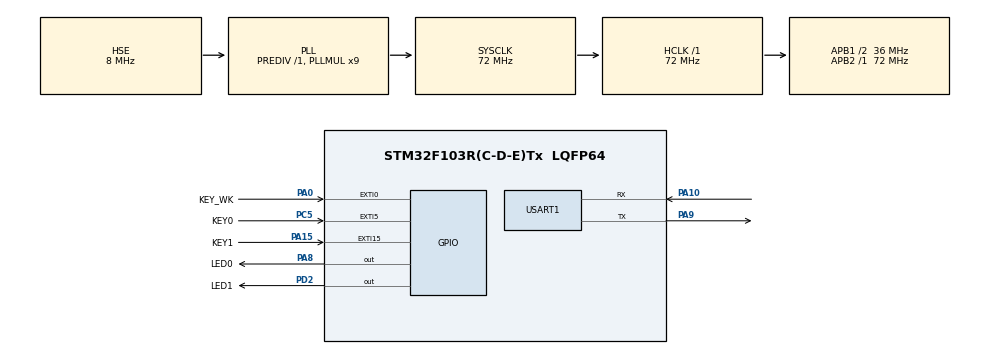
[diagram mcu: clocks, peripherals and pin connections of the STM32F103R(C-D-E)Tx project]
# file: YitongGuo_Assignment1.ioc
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Mcu.Family=STM32F1
Mcu.Name=STM32F103R(C-D-E)Tx
Mcu.Package=LQFP64
NVIC.EXTI0_IRQn=true\:1\:0\:true\:false\:true\:true\:true\:true
NVIC.EXTI15_10_IRQn=true\:1\:2\:true\:false\:true\:true\:true\:true
NVIC.EXTI9_5_IRQn=true\:1\:1\:true\:false\:true\:true\:true\:true
NVIC.PriorityGroup=NVIC_PRIORITYGROUP_2
NVIC.USART1_IRQn=true\:1\:0\:true\:false\:true\:true\:true\:true
PA0-WKUP.GPIO_Label=KEY_WK
PA0-WKUP.GPIO_ModeDefaultEXTI=GPIO_MODE_IT_RISING
PA0-WKUP.GPIO_PuPd=GPIO_PULLDOWN
PA0-WKUP.Signal=GPXTI0
PA10.Mode=Asynchronous
PA10.Signal=USART1_RX
PA13.Mode=Serial_Wire
PA13.Signal=SYS_JTMS-SWDIO
PA14.Mode=Serial_Wire
PA14.Signal=SYS_JTCK-SWCLK
PA15.GPIO_Label=KEY1
PA15.GPIO_ModeDefaultEXTI=GPIO_MODE_IT_FALLING
PA15.GPIO_PuPd=GPIO_PULLUP
PA15.Signal=GPXTI15
PA8.GPIO_Label=LED0
PA8.PinState=GPIO_PIN_RESET
PA8.Signal=GPIO_Output
PA9.Mode=Asynchronous
PA9.Signal=USART1_TX
PC5.GPIO_Label=KEY0
PC5.GPIO_ModeDefaultEXTI=GPIO_MODE_IT_FALLING
PC5.GPIO_PuPd=GPIO_PULLUP
PC5.Signal=GPXTI5
PD0-OSC_IN.Mode=HSE-External-Oscillator
PD0-OSC_IN.Signal=RCC_OSC_IN
PD1-OSC_OUT.Mode=HSE-External-Oscillator
PD1-OSC_OUT.Signal=RCC_OSC_OUT
PD2.GPIO_Label=LED1
PD2.PinState=GPIO_PIN_RESET
PD2.Signal=GPIO_Output
ProjectManager.HeapSize=0x200
ProjectManager.StackSize=0x400
ProjectManager.TargetToolchain=STM32CubeIDE
RCC.AHBFreq_Value=72000000
RCC.APB1CLKDivider=RCC_HCLK_DIV2
RCC.APB1Freq_Value=36000000
RCC.APB1TimFreq_Value=72000000
RCC.APB2Freq_Value=72000000
RCC.APB2TimFreq_Value=72000000
RCC.HCLKFreq_Value=72000000
RCC.PLLMUL=RCC_PLL_MUL9
RCC.PLLSourceVirtual=RCC_PLLSOURCE_HSE
RCC.SYSCLKFreq_VALUE=72000000
RCC.SYSCLKSource=RCC_SYSCLKSOURCE_PLLCLK
RCC.USBFreq_Value=72000000
USART1.VirtualMode=VM_ASYNC
board=custom

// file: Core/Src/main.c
/* USER CODE BEGIN Header */
/**
  ******************************************************************************
  * @file           : main.c
  * @brief          : Main program body
  ******************************************************************************
  * @attention
  *
  * Copyright (c) 2023 STMicroelectronics.
  * All rights reserved.
  *
  * This software is licensed under terms that can be found in the LICENSE file
  * in the root directory of this software component.
  * If no LICENSE file comes with this software, it is provided AS-IS.
  *
  ******************************************************************************
  */
/* USER CODE END Header */
#include "main.h"
#include "usart.h"
#include "gpio.h"

/* USER CODE BEGIN Includes */
#include "lcd.h"
#include "string.h"
#include <ctype.h>
/* USER CODE END Includes */

/* USER CODE BEGIN PTD */
typedef struct {
    char character;
    char code[10];
} HuffmanCode;
/* USER CODE END PTD */

extern int Mode;
char decoded_error_buffer[24]={'\0'};
char encoded_error_buffer[24]={'\0'};
extern char binaryInput[9];
int exist=0;
extern char character_input[100];
char encoded_output[100]={'\0'};
extern char input_huffman_code[100];
char decoded_output[100]={'\0'};
/* USER CODE BEGIN PV */
HuffmanCode encodingTable[] = {
    {'A', "000"}, {'B', "101001"}, {'C', "00101"}, {'D', "11011"},
    {'E', "011"}, {'F', "01000"}, {'G', "001001"}, {'H', "0011"},
    {'I', "1100"}, {'J', "00100011"}, {'K', "0010000"}, {'L', "11010"},
    {'M', "01001"}, {'N', "1011"}, {'O', "1110"}, {'P', "101011"},
    {'Q', "0010001001"}, {'R', "0101"}, {'S', "1000"}, {'T', "1111"},
    {'U', "10011"}, {'V', "101000"}, {'W', "101010"}, {'X', "001000101"},
    {'Y', "10010"}, {'Z', "0010001000"}
};
/* USER CODE END PV */

void SystemClock_Config(void);

/* USER CODE BEGIN 0 */
void encode(char* character_input){
	memset(encoded_output,0,sizeof(encoded_output));
    size_t length=strlen(character_input);
    int i,j=0;
    for (i = 0; i<length; ++i) {
            for (j = 0; j < sizeof(encodingTable) / sizeof(HuffmanCode); ++j) {
                if (toupper(character_input[i]) == encodingTable[j].character) {
                	strcat(encoded_output, encodingTable[j].code);
                    break;
                }
            }
//            char* error_message="Encode error:";
//            char* temp;
//            *temp=character_input[i];
//            strcpy(encoded_error_buffer,error_message);
//            strcat(encoded_error_buffer,temp);

    }
    return;
}
char decodeChar(char* code){
	for (int i = 0; i < sizeof(encodingTable) / sizeof(HuffmanCode); ++i) {
	        if (strcmp(code, encodingTable[i].code) == 0) {
	        	exist=1;
	        	//LED_0 LED_1 first blink
	        	HAL_GPIO_TogglePin(LED0_GPIO_Port, LED0_Pin);
	        	HAL_GPIO_TogglePin(LED1_GPIO_Port, LED1_Pin);
	        	HAL_Delay(300);
	        	HAL_GPIO_TogglePin(LED0_GPIO_Port, LED0_Pin);
	        	HAL_GPIO_TogglePin(LED1_GPIO_Port, LED1_Pin);
	        	HAL_Delay(300);
	        	//LED_0 LED_1 second blink
	        	HAL_GPIO_TogglePin(LED0_GPIO_Port, LED0_Pin);
	        	HAL_GPIO_TogglePin(LED1_GPIO_Port, LED1_Pin);
	        	HAL_Delay(300);
	        	HAL_GPIO_TogglePin(LED0_GPIO_Port, LED0_Pin);
	        	HAL_GPIO_TogglePin(LED1_GPIO_Port, LED1_Pin);
	            return encodingTable[i].character;
	        }
	    }
	    exist=0;
	    return '\0';  // Return null character if not found
}
void decode(char* decoded_input){
	char buffer[11];
	int i, j = 0, k = 0;
	size_t length=strlen(decoded_input);
	for (i = 0; i<length;++i) {
	        buffer[j++] = decoded_input[i];
	        buffer[j] = '\0';
	        exist=0;
	        char decodedChar = decodeChar(buffer);
	        if(exist==0){//"找不到“
	        	char* error_message="Decode error:";
	        	strcpy(decoded_error_buffer,error_message);
	        	strcat(decoded_error_buffer,buffer);
	        }
	        //找到了，要清空error_buffer以及改变j，还有加入到decoded_output中
	        else{
	        	memset(decoded_error_buffer,0,sizeof(decoded_error_buffer));
	        	j=0;
	        	decoded_output[k++]=decodedChar;
	        }
	}
	    decoded_output[k] = '\0';
}
/* USER CODE END 0 */

int main(void)
{

  /* MCU Configuration--------------------------------------------------------*/

  /* Reset of all peripherals, Initializes the Flash interface and the Systick. */
  HAL_Init();

  /* Configure the system clock */
  SystemClock_Config();

  /* Initialize all configured peripherals */
  MX_GPIO_Init();
  MX_USART1_UART_Init();
  /* USER CODE BEGIN 2 */
  LCD_Init();
  /* USER CODE END 2 */

  /* Infinite loop */
  /* USER CODE BEGIN WHILE */
  BACK_COLOR = WHITE;
  POINT_COLOR = RED;
  HAL_GPIO_TogglePin(LED0_GPIO_Port, LED0_Pin);
  HAL_GPIO_TogglePin(LED1_GPIO_Port, LED1_Pin);
  while (1)
  {
    /* USER CODE END WHILE */
	    // use as confirm key or mode switch key
	 	  if(HAL_GPIO_ReadPin(KEY_WK_GPIO_Port, KEY_WK_Pin)== GPIO_PIN_RESET){
	 		  if(Mode ==1){
	 			  if(strlen(character_input)>0){// confirm key
	 				  //When receiving successive 0 and 1 after pressing Confirmation key, LED0 and LED1 should blink in order
//	 				  strncat(code_ofAlpha, encode(character_input), sizeof(code_ofAlpha) - strlen(code_ofAlpha) - 1);
	 				  encode(character_input);
	 				  memset(character_input, '\0', sizeof(character_input));

	 			  }
	 			  else{//Mode switch key
	 				  Mode =0;

	 			  }
	 		  }
	 		  else if(Mode ==0){
	 			  if(strlen(input_huffman_code)>0){ //confirm key, decode character
	 				  for(int i=0;i<strlen(input_huffman_code);i++){
	 					  if(input_huffman_code[i]=='0'){
	 						  //LED_0 blink
	 						  HAL_GPIO_TogglePin(LED0_GPIO_Port, LED0_Pin);
	 						  HAL_Delay(300);
	 						  HAL_GPIO_TogglePin(LED0_GPIO_Port, LED0_Pin);
	 						  HAL_Delay(300);
	 					  }
	 					  else if(input_huffman_code[i]=='1'){
	 						  //LED_1 blink
	 						  HAL_GPIO_TogglePin(LED1_GPIO_Port, LED1_Pin);
	 						  HAL_Delay(300);
	 						  HAL_GPIO_TogglePin(LED1_GPIO_Port, LED1_Pin);
	 						  HAL_Delay(300);
	 					  }
	 				  }
	 				  decode(input_huffman_code);
	 				  memset(input_huffman_code, '\0', sizeof(input_huffman_code));
	 			  }
	 			  else{ //Mode switch
	 				  Mode =1;

	 			  }
	 		  }
	 		  LCD_Clear(WHITE);
	 		  if(Mode ==1){
	 			  POINT_COLOR = RED;
	 			  LCD_ShowString(10, 10, 200, 24, 24, (uint8_t*)"Encode mode");
	 			  POINT_COLOR = BLACK;
	 			  LCD_ShowString(10, 36, 90, 16, 16, (uint8_t*)"InputHex:");
	 			  LCD_ShowString(100, 36, 200, 16, 16, (uint8_t*)binaryInput);
	 			  LCD_ShowString(10, 148, 200, 16, 16, (uint8_t*)"Output:");
	 			  LCD_ShowString(80, 148, 200, 16, 16, (uint8_t*)encoded_error_buffer);
	 			  LCD_ShowString(10, 166, 200, 64, 16, (uint8_t*)encoded_output);
	 			  for(int i=0;i<strlen(encoded_output);i++){
	 				  if(encoded_output[i]=='0'){
	 					  //LED_0 blink
	 					  HAL_GPIO_TogglePin(LED0_GPIO_Port, LED0_Pin);
	 					  HAL_Delay(300);
	 					  HAL_GPIO_TogglePin(LED0_GPIO_Port, LED0_Pin);
	 					  HAL_Delay(300);
	 			 	  }
	 			 	  else if(encoded_output[i]=='1'){
	 			 	 	   //LED_1 blink
	 			 	 	  HAL_GPIO_TogglePin(LED1_GPIO_Port, LED1_Pin);
	 			 	 	  HAL_Delay(300);
	 			 	 	  HAL_GPIO_TogglePin(LED1_GPIO_Port, LED1_Pin);
	 			 	 	  HAL_Delay(300);
	 			 	 }

	 			 }
	 		  }
	 		  if(Mode ==0){
	 			  POINT_COLOR = RED;
	 			  LCD_ShowString(10, 10, 200, 24, 24, (uint8_t*)"Decode mode");
	 			  POINT_COLOR = BLACK;
	 			  LCD_ShowString(10, 36, 200, 16, 16, (uint8_t*)"Input:");
	 			  LCD_ShowString(10, 54, 200, 64, 16, (uint8_t*)input_huffman_code);
	 			  LCD_ShowString(10, 148, 200, 16, 16, (uint8_t*)"Output:");
	 			  LCD_ShowString(80, 148, 200, 16, 16, (uint8_t*)decoded_error_buffer);
	 			  if(exist==0){//there is one error
	 				      //LED0 on;
	 				      HAL_GPIO_TogglePin(LED0_GPIO_Port, LED0_Pin);
	 				      //first blink
	 				      HAL_GPIO_TogglePin(LED1_GPIO_Port, LED1_Pin);
	 				      HAL_Delay(300);
	 				      HAL_GPIO_TogglePin(LED1_GPIO_Port, LED1_Pin);
	 				      //second blink
	 				      HAL_Delay(300);
	 				      HAL_GPIO_TogglePin(LED1_GPIO_Port, LED1_Pin);
	 				      HAL_Delay(300);
	 				      HAL_GPIO_TogglePin(LED1_GPIO_Port, LED1_Pin);
	 				      //third blink;
	 				      HAL_Delay(300);
	 				      HAL_GPIO_TogglePin(LED1_GPIO_Port, LED1_Pin);
	 				      HAL_Delay(300);
	 				      HAL_GPIO_TogglePin(LED1_GPIO_Port, LED1_Pin);
	 				      //LED0 off
	 				      HAL_GPIO_TogglePin(LED0_GPIO_Port, LED0_Pin);
	 			  }
	 			  LCD_ShowString(10, 166, 200, 64, 16, (uint8_t*)decoded_output);
	 		  }
	 		  while(HAL_GPIO_ReadPin(KEY_WK_GPIO_Port, KEY_WK_Pin)== GPIO_PIN_RESET);
	 	  }
  }
}

void SystemClock_Config(void)
{
  RCC_OscInitTypeDef RCC_OscInitStruct = {0};
  RCC_ClkInitTypeDef RCC_ClkInitStruct = {0};

  /** Initializes the RCC Oscillators according to the specified parameters
  * in the RCC_OscInitTypeDef structure.
  */
  RCC_OscInitStruct.OscillatorType = RCC_OSCILLATORTYPE_HSE;
  RCC_OscInitStruct.HSEState = RCC_HSE_ON;
  RCC_OscInitStruct.HSEPredivValue = RCC_HSE_PREDIV_DIV1;
  RCC_OscInitStruct.HSIState = RCC_HSI_ON;
  RCC_OscInitStruct.PLL.PLLState = RCC_PLL_ON;
  RCC_OscInitStruct.PLL.PLLSource = RCC_PLLSOURCE_HSE;
  RCC_OscInitStruct.PLL.PLLMUL = RCC_PLL_MUL9;
  if (HAL_RCC_OscConfig(&RCC_OscInitStruct) != HAL_OK)
  {
    Error_Handler();
  }

  /** Initializes the CPU, AHB and APB buses clocks
  */
  RCC_ClkInitStruct.ClockType = RCC_CLOCKTYPE_HCLK|RCC_CLOCKTYPE_SYSCLK
                              |RCC_CLOCKTYPE_PCLK1|RCC_CLOCKTYPE_PCLK2;
  RCC_ClkInitStruct.SYSCLKSource = RCC_SYSCLKSOURCE_PLLCLK;
  RCC_ClkInitStruct.AHBCLKDivider = RCC_SYSCLK_DIV1;
  RCC_ClkInitStruct.APB1CLKDivider = RCC_HCLK_DIV2;
  RCC_ClkInitStruct.APB2CLKDivider = RCC_HCLK_DIV1;

  if (HAL_RCC_ClockConfig(&RCC_ClkInitStruct, FLASH_LATENCY_2) != HAL_OK)
  {
    Error_Handler();
  }
}

void Error_Handler(void)
{
  __disable_irq();
  while (1)
  {
  }
}
